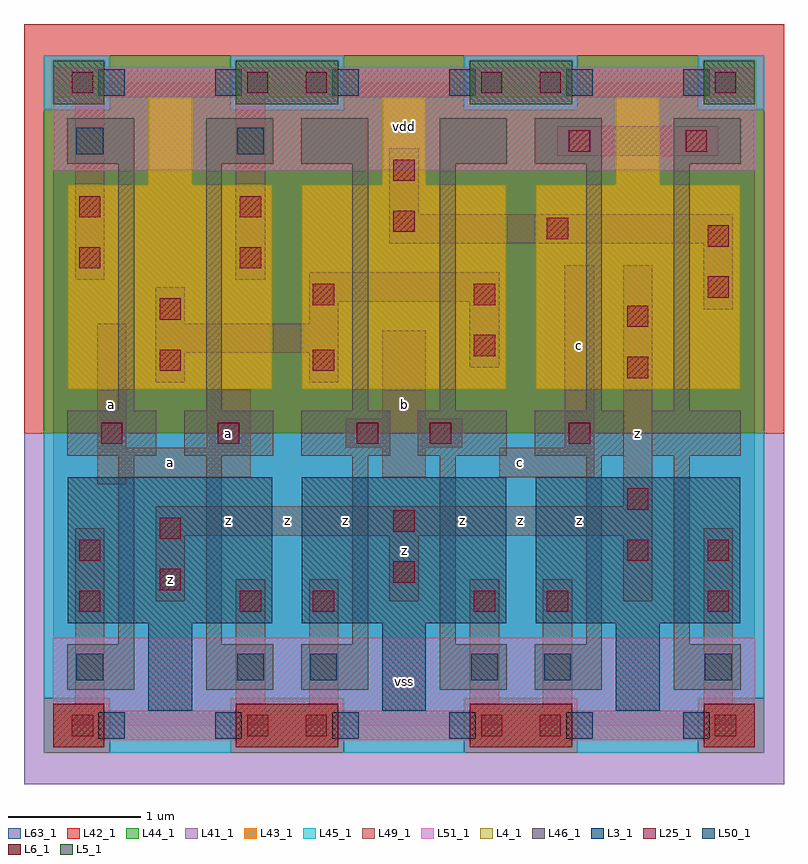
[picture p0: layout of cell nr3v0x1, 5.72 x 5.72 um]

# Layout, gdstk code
import gdstk
lib = gdstk.Library(unit=1e-6, precision=1e-09)
def R(c, l, rs):  # rectangles x0, y0, x1, y1
    for r in rs: c.add(gdstk.rectangle(r[:2], r[2:], *l))
def A(c, l, x, y, w, h, nx, ny, dx, dy):  # array of equal rectangles
    R(c, l, [(x+i*dx, y+j*dy, x+i*dx+w, y+j*dy+h) for i in range(nx) for j in range(ny)])
L3_1 = (3, 1)
L4_1 = (4, 1)
L5_1 = (5, 1)
L6_1 = (6, 1)
L25_1 = (25, 1)
L41_1 = (41, 1)
L42_1 = (42, 1)
L43_1 = (43, 1)
L44_1 = (44, 1)
L45_1 = (45, 1)
L46_1 = (46, 1)
L49_1 = (49, 1)
L50_1 = (50, 1)
L51_1 = (51, 1)
L63_1 = (63, 1)

nr3v0x1 = lib.new_cell('nr3v0x1')
A(nr3v0x1, L3_1, 0.715, 0.11, 0.33, 0.66, 3, 1, 1.76, 0)
A(nr3v0x1, L3_1, 0.11, 0.77, 1.54, 1.1, 3, 1, 1.76, 0)
A(nr3v0x1, L4_1, 0.11, 2.53, 1.54, 1.54, 3, 1, 1.76, 0)
A(nr3v0x1, L4_1, 0.715, 4.07, 0.33, 0.66, 3, 1, 1.76, 0)
R(nr3v0x1, L5_1, [(0,4.675,0.385,5.005), (1.375,4.675,2.145,5.005), (3.135,4.675,3.905,5.005), (4.895,4.675,5.28,5.005)])
R(nr3v0x1, L6_1, [(0,-0.165,0.385,0.165), (1.375,-0.165,2.145,0.165), (3.135,-0.165,3.905,0.165), (4.895,-0.165,5.28,0.165)])
R(nr3v0x1, L25_1, [(0.14,-0.08,0.3,0.08), (1.46,-0.08,1.62,0.08), (1.9,-0.08,2.06,0.08), (3.22,-0.08,3.38,0.08), (3.66,-0.08,3.82,0.08), (4.98,-0.08,5.14,0.08), (0.195,0.855,0.355,1.015), (1.405,0.855,1.565,1.015), (1.955,0.855,2.115,1.015), (3.165,0.855,3.325,1.015), (3.715,0.855,3.875,1.015), (4.925,0.855,5.085,1.015), (0.8,1.02,0.96,1.18), (2.56,1.075,2.72,1.235), (0.195,1.24,0.355,1.4), (4.32,1.24,4.48,1.4), (4.925,1.24,5.085,1.4), (0.8,1.405,0.96,1.565), (2.56,1.46,2.72,1.62), (4.32,1.625,4.48,1.785), (0.36,2.12,0.52,2.28), (1.24,2.12,1.4,2.28), (2.285,2.12,2.445,2.28), (2.835,2.12,2.995,2.28), (3.88,2.12,4.04,2.28), (4.32,2.615,4.48,2.775), (0.8,2.67,0.96,2.83), (1.955,2.67,2.115,2.83), (3.165,2.78,3.325,2.94), (4.32,3,4.48,3.16), (0.8,3.055,0.96,3.215), (1.955,3.165,2.115,3.325), (3.165,3.165,3.325,3.325), (4.925,3.22,5.085,3.38), (0.195,3.44,0.355,3.6), (1.405,3.44,1.565,3.6), (4.925,3.605,5.085,3.765), (3.715,3.66,3.875,3.82), (2.56,3.715,2.72,3.875), (0.195,3.825,0.355,3.985), (1.405,3.825,1.565,3.985), (2.56,4.1,2.72,4.26), (3.88,4.32,4.04,4.48), (4.76,4.32,4.92,4.48), (0.14,4.76,0.3,4.92), (1.46,4.76,1.62,4.92), (1.9,4.76,2.06,4.92), (3.22,4.76,3.38,4.92), (3.66,4.76,3.82,4.92), (4.98,4.76,5.14,4.92)])
R(nr3v0x1, L41_1, [(-0.22,-0.44,5.5,2.2)])
R(nr3v0x1, L42_1, [(-0.22,2.2,5.5,5.28)])
A(nr3v0x1, L43_1, 0.715, 0.11, 0.33, 0.66, 3, 2, 1.76, 3.96)
A(nr3v0x1, L43_1, 0.11, 0.77, 1.54, 1.1, 3, 1, 1.76, 0)
A(nr3v0x1, L43_1, 0.11, 2.53, 1.54, 1.54, 3, 1, 1.76, 0)
R(nr3v0x1, L43_1, [(0,-0.165,0.385,0.165), (1.375,-0.165,2.145,0.165), (3.135,-0.165,3.905,0.165), (4.895,-0.165,5.28,0.165), (0,4.675,0.385,5.005), (1.375,4.675,2.145,5.005), (3.135,4.675,3.905,5.005), (4.895,4.675,5.28,5.005)])
A(nr3v0x1, L44_1, 0.425, 4.635, 0.91, 0.41, 3, 1, 1.76, 0)
R(nr3v0x1, L44_1, [(-0.07,-0.205,0.425,0.205), (1.335,-0.205,2.185,0.205), (3.095,-0.205,3.945,0.205), (4.855,-0.205,5.35,0.205), (-0.07,2.2,5.35,4.635)])
A(nr3v0x1, L45_1, 0.425, -0.205, 0.91, 0.41, 3, 1, 1.76, 0)
R(nr3v0x1, L45_1, [(-0.07,0.205,5.35,2.2), (-0.07,4.635,0.425,5.045), (1.335,4.635,2.185,5.045), (3.095,4.635,3.945,5.045), (4.855,4.635,5.35,5.045)])
A(nr3v0x1, L46_1, 0.105, 2.03, 0.67, 0.34, 6, 1, 0.88, 0)
R(nr3v0x1, L46_1, [(0.105,0.27,0.61,0.61), (1.15,0.27,1.655,0.61), (1.865,0.27,2.37,0.61), (2.91,0.27,3.415,0.61), (3.625,0.27,4.13,0.61), (4.67,0.27,5.175,0.61), (0.49,0.61,0.61,2.03), (1.15,0.61,1.27,2.03), (2.25,0.61,2.37,2.03), (2.91,0.61,3.03,2.03), (4.01,0.61,4.13,2.03), (4.67,0.61,4.79,2.03), (0.49,2.37,0.61,4.23), (1.15,2.37,1.27,4.23), (2.25,2.37,2.37,4.23), (2.91,2.37,3.03,4.23), (4.01,2.37,4.13,4.23), (4.67,2.37,4.79,4.23), (0.105,4.23,0.61,4.57), (1.15,4.23,1.655,4.57), (1.865,4.23,2.37,4.57), (2.91,4.23,3.415,4.57), (3.625,4.23,4.13,4.57), (4.67,4.23,5.175,4.57)])
A(nr3v0x1, L49_1, 0.77, 0.935, 0.22, 0.495, 3, 1, 1.76, 0)
R(nr3v0x1, L49_1, [(0,-0.11,5.28,0.11), (0.165,0.11,0.385,1.485), (1.375,0.11,1.595,1.1), (1.925,0.11,2.145,1.1), (3.135,0.11,3.355,1.1), (3.685,0.11,3.905,1.1), (4.895,0.11,5.115,1.485), (0.77,1.43,4.51,1.65), (4.29,1.65,4.51,3.465), (0.33,1.815,0.55,1.87), (0.33,1.87,1.485,2.09), (2.475,1.87,2.805,2.09), (3.355,1.87,4.07,2.09), (0.33,2.09,0.55,3.025), (1.155,2.09,1.485,2.53), (2.2,2.09,3.08,2.31), (3.85,2.09,4.07,3.465), (2.475,2.31,2.805,2.97), (0.77,2.585,0.99,2.805), (1.925,2.585,2.145,2.805), (3.135,2.695,3.355,3.19), (0.77,2.805,2.145,3.025), (0.77,3.025,0.99,3.3), (1.925,3.025,2.145,3.19), (4.895,3.135,5.115,3.63), (1.925,3.19,3.355,3.41), (0.165,3.355,0.385,4.73), (1.375,3.355,1.595,4.73), (2.53,3.63,5.115,3.85), (2.53,3.85,2.75,4.345), (3.795,4.29,5.005,4.51), (0,4.73,5.28,4.95)])
A(nr3v0x1, L50_1, 0.34, -0.1, 0.2, 0.2, 6, 2, 0.88, 4.84)
R(nr3v0x1, L50_1, [(0.175,0.34,0.375,0.54), (1.385,0.34,1.585,0.54), (1.935,0.34,2.135,0.54), (3.145,0.34,3.345,0.54), (3.695,0.34,3.895,0.54), (4.905,0.34,5.105,0.54), (0.175,4.3,0.375,4.5), (1.385,4.3,1.585,4.5)])
R(nr3v0x1, L51_1, [(0,-0.11,5.28,0.66), (0,4.18,5.28,4.95)])
R(nr3v0x1, L63_1, [(0,0,5.28,4.84)])
nr3v0x1.add(gdstk.Label('a', (0.44,2.42), layer=49, texttype=1))
nr3v0x1.add(gdstk.Label('z', (0.88,1.1), layer=49, texttype=1))
nr3v0x1.add(gdstk.Label('z', (1.76,1.54), layer=49, texttype=1))
nr3v0x1.add(gdstk.Label('z', (1.32,1.54), layer=49, texttype=1))
nr3v0x1.add(gdstk.Label('a', (0.88,1.98), layer=49, texttype=1))
nr3v0x1.add(gdstk.Label('a', (1.32,2.2), layer=49, texttype=1))
nr3v0x1.add(gdstk.Label('z', (2.2,1.54), layer=49, texttype=1))
nr3v0x1.add(gdstk.Label('z', (3.08,1.54), layer=49, texttype=1))
nr3v0x1.add(gdstk.Label('z', (2.64,1.32), layer=49, texttype=1))
nr3v0x1.add(gdstk.Label('b', (2.64,2.42), layer=49, texttype=1))
nr3v0x1.add(gdstk.Label('z', (3.96,1.54), layer=49, texttype=1))
nr3v0x1.add(gdstk.Label('z', (3.52,1.54), layer=49, texttype=1))
nr3v0x1.add(gdstk.Label('c', (3.52,1.98), layer=49, texttype=1))
nr3v0x1.add(gdstk.Label('c', (3.96,2.86), layer=49, texttype=1))
nr3v0x1.add(gdstk.Label('z', (4.4,2.2), layer=49, texttype=1))
nr3v0x1.add(gdstk.Label('vss', (2.64,0.33), layer=51, texttype=1))
nr3v0x1.add(gdstk.Label('vdd', (2.64,4.51), layer=51, texttype=1))

lib.write_gds('nr3v0x1.gds')
